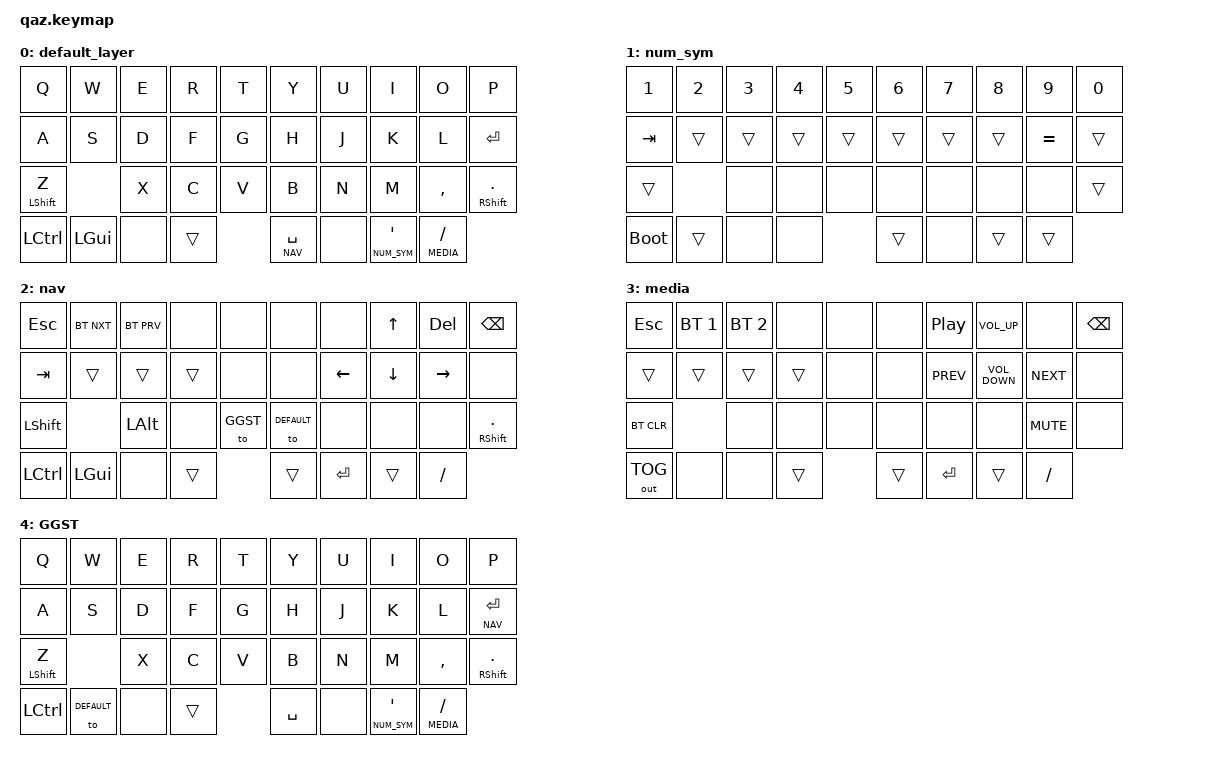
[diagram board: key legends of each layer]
/*
 * Copyright (c) 2020 The ZMK Contributors
 *
 * SPDX-License-Identifier: MIT
 */

#include <behaviors.dtsi>
#include <dt-bindings/zmk/keys.h>
#include <dt-bindings/zmk/bt.h>
#include <dt-bindings/zmk/outputs.h>

#define DEFAULT 0
#define NUM_SYM 1
#define NAV     2
#define MEDIA   3
#define GGST    4

/ {
    combos {
        compatible = "zmk,combos";
        combo_bspc {
            timeout-ms = <50>;
            key-positions = <8 9>;
            bindings = <&kp BSPC>;
                };                           
        compatible = "zmk,combos";
        combo_del {
            timeout-ms = <50>;
            key-positions = <7 8 9>;
            bindings = <&kp DEL>;
                };    
                
        compatible = "zmk,combos";
        combo_TAB {
            timeout-ms = <50>;
            layers = <0 1 2 3>;
            key-positions = <10 11>;
            bindings = <&kp TAB>;
                };
                
        compatible = "zmk,combos";
        combo_esc {
            timeout-ms = <50>;
            key-positions = <0 1>;
            bindings = <&kp ESC>;
                };

            };
              
    behaviors {
        hm: homerow_mods {
            compatible = "zmk,behavior-hold-tap";
            label = "homerow mods";
            #binding-cells = <2>;
            tapping-term-ms = <225>;
            flavor = "tap-preferred";
            bindings = <&kp>, <&kp>;
        };
    };
 
};

/ {
    keymap {
        compatible = "zmk,keymap";

        default_layer {
            bindings = <
    &kp Q      &kp W      &kp E       &kp R       &kp T  &kp Y  &kp U       &kp I       &kp O      &kp P
    &kp A      &kp S      &kp D       &kp F       &kp G  &kp H  &kp J       &kp K       &kp L      &kp ENTER
    &mt LEFT_SHIFT Z      &kp X       &kp C       &kp V  &kp B  &kp N       &kp M       &kp COMMA  &mt RIGHT_SHIFT DOT
    &kp LCTRL  &kp LGUI   &none       &trans    &lt NAV SPACE  &none   &lt NUM_SYM SQT    &lt MEDIA FSLH
            >;
        };
        num_sym {
            bindings = <
    &kp N1     &kp N2     &kp N3     &kp N4     &kp N5 &kp N6 &kp N7     &kp N8      &kp N9    &kp N0
    &kp TAB     &trans     &trans     &trans     &trans &trans &trans     &trans      &kp EQUAL &trans
    &trans               &none      &none      &none  &none  &none      &none       &none     &trans
    &bootloader &trans    &none         &none       &trans             &none     &trans    &trans
            >;
        };

    nav {
            bindings = <
    &kp ESC &bt BT_NXT &bt BT_PRV &none       &none &none &none       &kp UP       &kp DEL     &kp BSPC
    &kp TAB    &trans     &trans     &trans      &none &none &kp LEFT    &kp DOWN     &kp RIGHT &none
    &kp LEFT_SHIFT   &kp LALT      &none       &to GGST &to DEFAULT &none       &none        &none     &mt RIGHT_SHIFT DOT
    &kp LCTRL      &kp LGUI     &none         &trans        &trans             &kp RET      &trans    &kp FSLH
            >;
        };
        
    media {
            bindings = <
    &kp ESC &bt BT_SEL 1 &bt BT_SEL 2 &none       &none &none &kp C_PP      &kp C_VOLUME_UP      &none     &kp BSPC
    &trans     &trans     &trans     &trans      &none &none &kp C_PREV    &kp C_VOLUME_DOWN     &kp C_NEXT &none
    &bt BT_CLR                 &none      &none       &none &none &none       &none        &kp C_MUTE     &none
    &out OUT_TOG      &none      &none         &trans        &trans             &kp RET      &trans    &kp FSLH
            >;
        };
    GGST {
            bindings = <
    &kp Q      &kp W      &kp E       &kp R       &kp T  &kp Y  &kp U       &kp I       &kp O      &kp P
    &kp A      &kp S      &kp D       &kp F       &kp G  &kp H  &kp J       &kp K       &kp L      &lt NAV ENTER
    &mt LEFT_SHIFT Z      &kp X       &kp C       &kp V  &kp B  &kp N       &kp M       &kp COMMA  &mt RIGHT_SHIFT DOT
    &kp LCTRL  &to DEFAULT   &none       &trans    &kp SPACE  &none   &lt NUM_SYM SQT    &lt MEDIA FSLH
            >;
        };
    };
};
